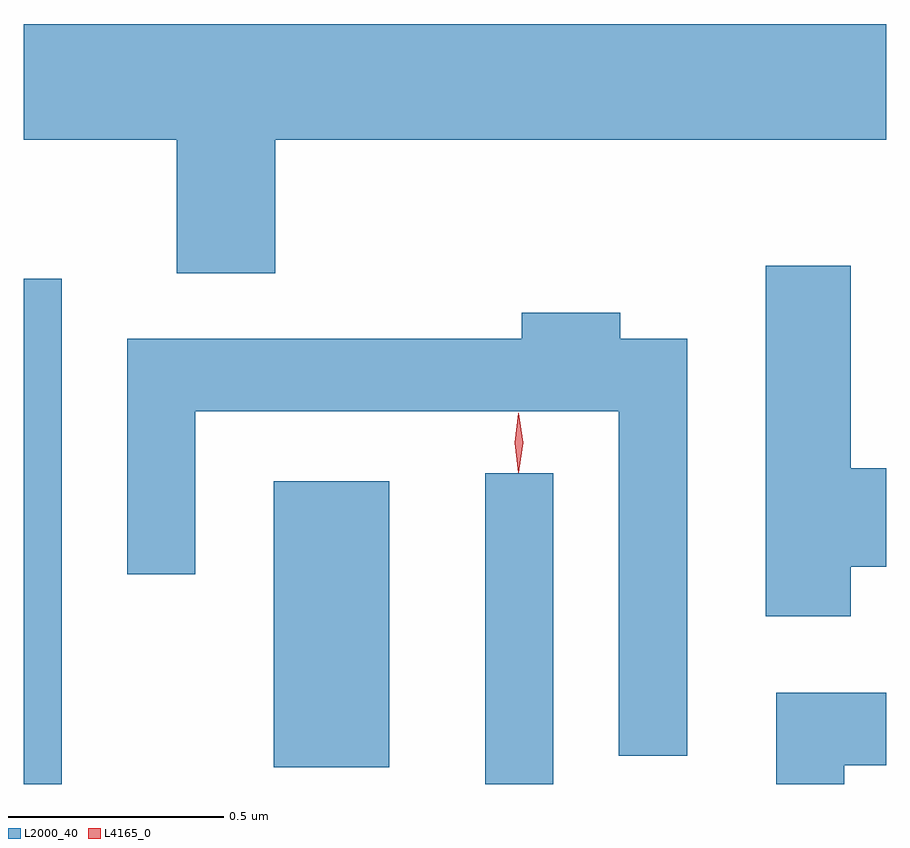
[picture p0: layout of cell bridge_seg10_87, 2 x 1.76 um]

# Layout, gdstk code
import gdstk
lib = gdstk.Library(unit=1e-6, precision=1e-09)
def R(c, l, rs):  # rectangles x0, y0, x1, y1
    for r in rs: c.add(gdstk.rectangle(r[:2], r[2:], *l))
def P(c, l, *ps):  # polygons
    for p in ps: c.add(gdstk.Polygon(p, *l))
L2000_40 = (2000, 40)
L4165_0 = (4165, 0)

bridge_seg10_87 = lib.new_cell('bridge_seg10_87')
R(bridge_seg10_87, L2000_40, [(1583.316,2212.322,1583.404,2213.493), (1584.386,2212.322,1584.544,2213.043), (1583.896,2212.361,1584.164,2213.024)])
P(bridge_seg10_87, L2000_40, [(1583.899,2213.816),(1585.316,2213.816),(1585.316,2214.084),(1583.316,2214.084),(1583.316,2213.816),(1583.671,2213.816),(1583.671,2213.506),(1583.899,2213.506)],
  [(1585.234,2212.826),(1585.316,2212.826),(1585.316,2213.054),(1585.234,2213.054),(1585.234,2213.524),(1585.036,2213.524),(1585.036,2212.711),(1585.234,2212.711)],
  [(1584.854,2213.354),(1584.699,2213.354),(1584.699,2213.414),(1584.471,2213.414),(1584.471,2213.354),(1583.556,2213.354),(1583.556,2212.808),(1583.714,2212.808),(1583.714,2213.186),(1584.696,2213.186),(1584.696,2212.388),(1584.854,2212.388)],
  [(1585.219,2212.366),(1585.316,2212.366),(1585.316,2212.534),(1585.061,2212.534),(1585.061,2212.322),(1585.219,2212.322)])
P(bridge_seg10_87, L4165_0, [(1584.463,2213.044),(1584.454,2213.113),(1584.463,2213.182),(1584.464,2213.183),(1584.464,2213.182),(1584.474,2213.113),(1584.464,2213.044),(1584.464,2213.044)])

lib.write_gds('bridge_seg10_87.gds')
